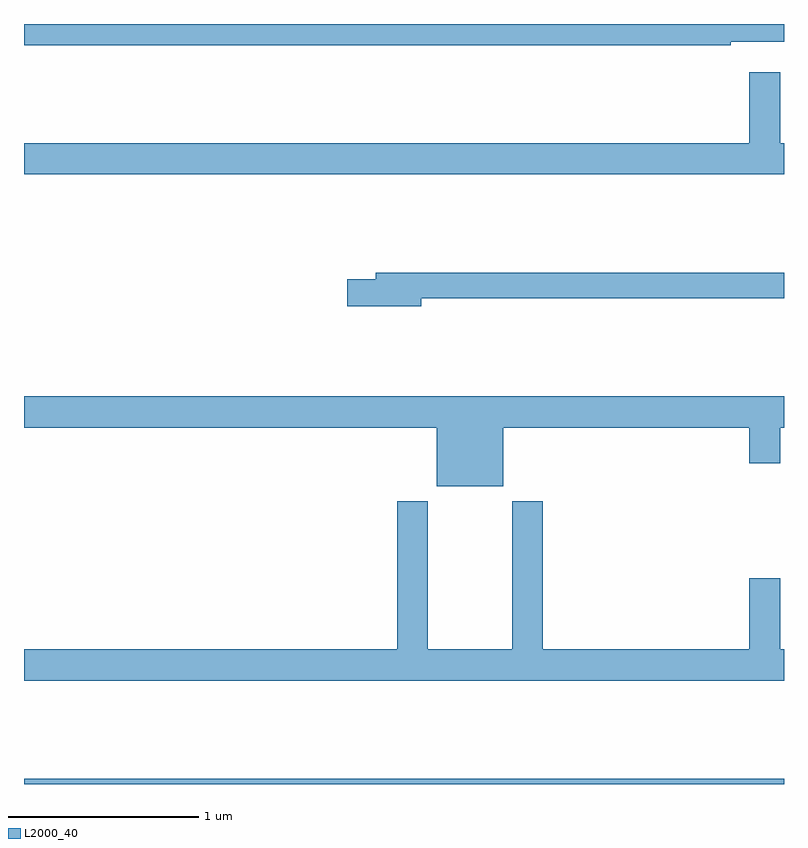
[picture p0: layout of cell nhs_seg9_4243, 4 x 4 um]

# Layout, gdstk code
import gdstk
lib = gdstk.Library(unit=1e-6, precision=1e-09)
def R(c, l, rs):  # rectangles x0, y0, x1, y1
    for r in rs: c.add(gdstk.rectangle(r[:2], r[2:], *l))
def P(c, l, *ps):  # polygons
    for p in ps: c.add(gdstk.Polygon(p, *l))
L2000_40 = (2000, 40)

nhs_seg9_4243 = lib.new_cell('nhs_seg9_4243')
R(nhs_seg9_4243, L2000_40, [(353,1238.5,357,1238.528)])
P(nhs_seg9_4243, L2000_40, [(356.72,1242.407),(357,1242.407),(357,1242.5),(353,1242.5),(353,1242.388),(356.72,1242.388)],
  [(357,1241.872),(356.98,1241.872),(356.98,1242.247),(356.816,1242.247),(356.816,1241.872),(353,1241.872),(353,1241.708),(357,1241.708)],
  [(355.09,1241.056),(357,1241.056),(357,1241.192),(354.851,1241.192),(354.851,1241.156),(354.702,1241.156),(354.702,1241.014),(355.09,1241.014)],
  [(353,1240.376),(355.172,1240.376),(355.172,1240.067),(355.522,1240.067),(355.522,1240.376),(356.816,1240.376),(356.816,1240.188),(356.98,1240.188),(356.98,1240.376),(357,1240.376),(357,1240.54),(353,1240.54)],
  [(357,1239.208),(356.98,1239.208),(356.98,1239.583),(356.816,1239.583),(356.816,1239.208),(355.73,1239.208),(355.73,1239.988),(355.57,1239.988),(355.57,1239.208),(355.125,1239.208),(355.125,1239.988),(354.965,1239.988),(354.965,1239.208),(353,1239.208),(353,1239.044),(357,1239.044)])

lib.write_gds('nhs_seg9_4243.gds')
